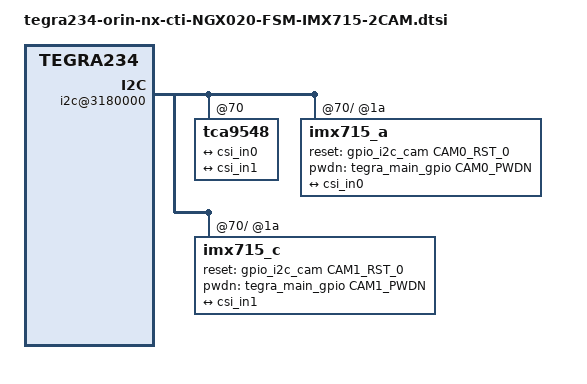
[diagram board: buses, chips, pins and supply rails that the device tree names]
#include "tegra234-orin-nx-cti-NGX020-FSM-2CAM-base.dtsi"
#include "tegra234-cti-fsm-imx715-modes-header.dtsi"

#include "dt-bindings/clock/tegra234-clock.h"

/{
    i2c@3180000 {
        tca9548@70 { // I2C switch
            status = "okay";
            i2c@0 {
                status = "okay";
                imx715_a@1a {
                    status = "okay";
                    devnode = "video0";

                    reset-gpios = <&gpio_i2c_cam CAM0_RST_0 GPIO_ACTIVE_HIGH>;
                    pwdn-gpios = <&tegra_main_gpio CAM0_PWDN GPIO_ACTIVE_HIGH>;

                    SENSOR_COMMON

#define LANE_POLARITY I2C0_LANEPOLARITY
#define TEGRA_SINTERFACE I2C0_SINTERFACE

                    SENSOR_MODE0_4LANE
                    SENSOR_MODE1_4LANE
                    SENSOR_MODE2_4LANE
                    SENSOR_MODE3_4LANE
                    SENSOR_MODE4_4LANE

                    ports {
                        #address-cells = <1>;
                        #size-cells = <0>;
                        port@0 {
                            reg = <0>;
                            vi_out0: endpoint {
                                port-index = VI_CSI_PORT_INDEX0;
                                bus-width = BUS_WIDTH_INDEX0;
                                remote-endpoint = <&csi_in0>;
                            };
                        };
                    };
                };
            };

            i2c@1 {
                status = "okay";
                imx715_c@1a {
                    status = "okay";
                    devnode = "video2";

                    reset-gpios = <&gpio_i2c_cam CAM1_RST_0 GPIO_ACTIVE_HIGH>;
					pwdn-gpios = <&tegra_main_gpio CAM1_PWDN GPIO_ACTIVE_HIGH>;
								
                    SENSOR_COMMON

#undef LANE_POLARITY
#undef TEGRA_SINTERFACE
#define LANE_POLARITY I2C1_LANEPOLARITY
#define TEGRA_SINTERFACE I2C1_SINTERFACE

                    SENSOR_MODE0_4LANE
                    SENSOR_MODE1_4LANE
                    SENSOR_MODE2_4LANE
                    SENSOR_MODE3_4LANE
                    SENSOR_MODE4_4LANE

                    ports {
					    #address-cells = <1>;
						#size-cells = <0>;
						port@0 {
							reg = <0>;
							vi_out1: endpoint {
								port-index = VI_CSI_PORT_INDEX1;
								bus-width = BUS_WIDTH_INDEX1;
                                remote-endpoint = <&csi_in1>;
							};
						};
					};
                };
            };
        };
    };

    tegra-camera-platform {
        modules {
			module0 {
				badge = "imx715_bottomleft_framos";
				position = "bottomleft";
				orientation = "1";
				status = "okay";
				drivernode0 {
					status = "okay";
					pcl_id = "v4l2_sensor";
					devname = "imx715 30-001a";
					proc-device-tree = "/proc/device-tree/i2c@3180000/tca9548@70/i2c@0/imx715_a@1a";
				};
			};
			module1 {
				badge = "imx715_centerright_framos";
				position = "centerright";
				orientation = "1";
				status = "okay";
				drivernode0 {
					status = "okay";
					pcl_id = "v4l2_sensor";
					devname = "imx715 31-001a";
					proc-device-tree = "/proc/device-tree/i2c@3180000/tca9548@70/i2c@1/imx715_c@1a";
				};
			};
		};
    };
};
